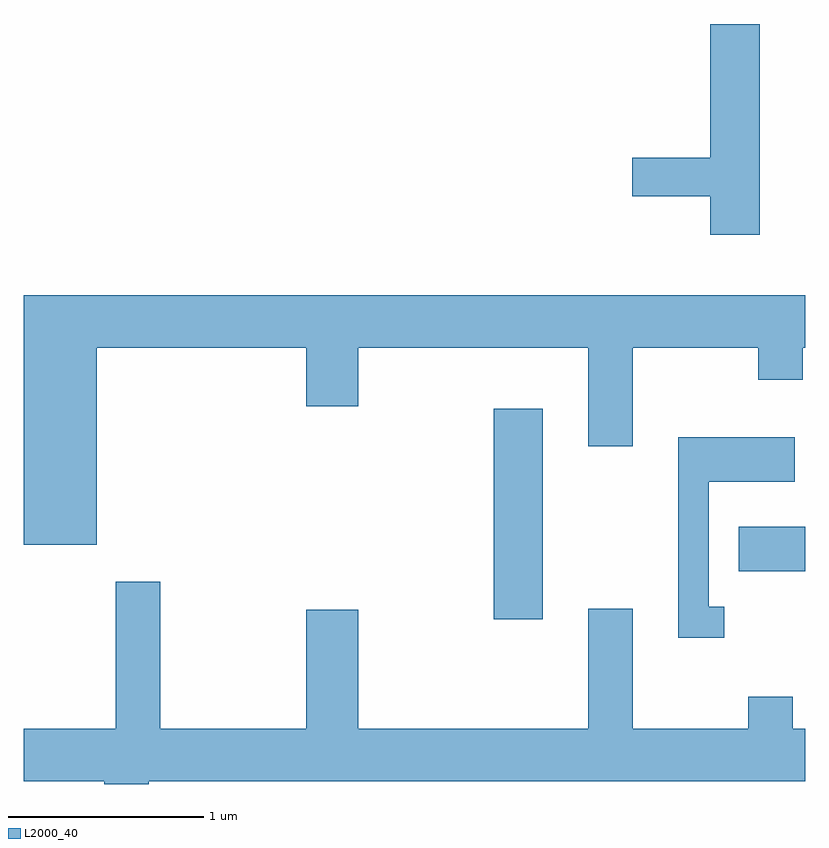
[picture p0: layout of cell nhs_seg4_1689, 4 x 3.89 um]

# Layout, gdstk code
import gdstk
lib = gdstk.Library(unit=1e-6, precision=1e-09)
def R(c, l, rs):  # rectangles x0, y0, x1, y1
    for r in rs: c.add(gdstk.rectangle(r[:2], r[2:], *l))
def P(c, l, *ps):  # polygons
    for p in ps: c.add(gdstk.Polygon(p, *l))
L2000_40 = (2000, 40)

nhs_seg4_1689 = lib.new_cell('nhs_seg4_1689')
R(nhs_seg4_1689, L2000_40, [(236.016,1368.826,236.269,1369.904), (237.271,1369.071,237.611,1369.299)])
P(nhs_seg4_1689, L2000_40, [(237.379,1371.874),(237.126,1371.874),(237.126,1371.189),(236.726,1371.189),(236.726,1370.991),(237.126,1370.991),(237.126,1370.796),(237.379,1370.796)],
  [(233.611,1369.206),(233.984,1369.206),(233.984,1370.216),(235.056,1370.216),(235.056,1369.916),(235.324,1369.916),(235.324,1370.216),(236.501,1370.216),(236.501,1369.711),(236.729,1369.711),(236.729,1370.216),(237.371,1370.216),(237.371,1370.051),(237.599,1370.051),(237.599,1370.216),(237.611,1370.216),(237.611,1370.484),(233.611,1370.484)],
  [(237.198,1368.889),(237.119,1368.889),(237.119,1369.531),(237.559,1369.531),(237.559,1369.759),(236.961,1369.759),(236.961,1368.731),(237.198,1368.731)],
  [(234.249,1367.996),(237.611,1367.996),(237.611,1368.264),(237.549,1368.264),(237.549,1368.429),(237.321,1368.429),(237.321,1368.264),(236.729,1368.264),(236.729,1368.879),(236.501,1368.879),(236.501,1368.264),(235.324,1368.264),(235.324,1368.874),(235.056,1368.874),(235.056,1368.264),(234.309,1368.264),(234.309,1369.019),(234.081,1369.019),(234.081,1368.264),(233.611,1368.264),(233.611,1367.996),(234.021,1367.996),(234.021,1367.982),(234.249,1367.982)])

lib.write_gds('nhs_seg4_1689.gds')
